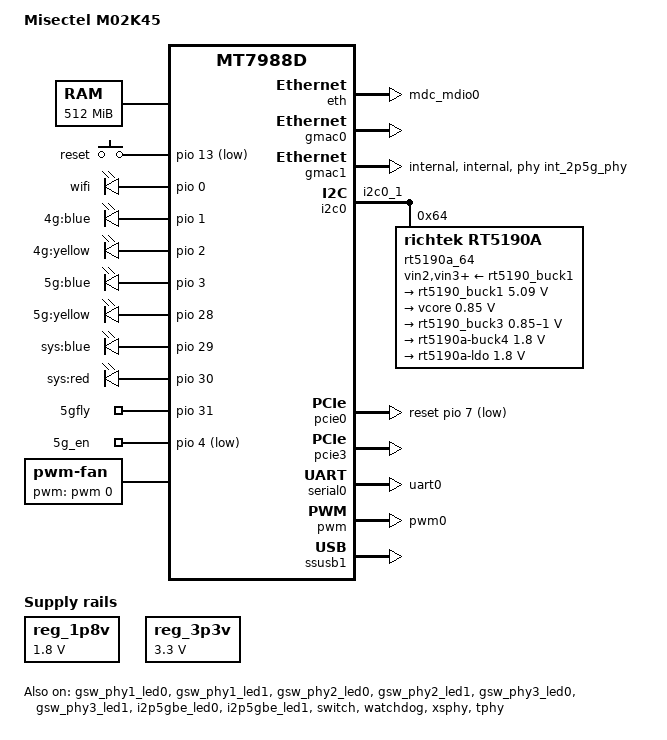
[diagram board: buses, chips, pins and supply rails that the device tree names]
// SPDX-License-Identifier: GPL-2.0-or-later OR MIT
/*
 * Copyright (C) 2025 Tianling Shen <cnsztl@immortalwrt.org>
 */

#include <dt-bindings/input/input.h>
#include <dt-bindings/gpio/gpio.h>
#include <dt-bindings/leds/common.h>
#include <dt-bindings/pinctrl/mt65xx.h>
#include <dt-bindings/regulator/richtek,rt5190a-regulator.h>

#include "mt7988a.dtsi"

/ {

	model = "Misectel M02K45";
	compatible = "misectel,m02k45", "mediatek,mt7988d";

	aliases {
		led-boot = &led_sys_red;
		led-failsafe = &led_sys_blue;
		led-running = &led_sys_blue;
		led-upgrade = &led_sys_red;
		label-mac-device = &gmac0;
		serial0 = &serial0;
	};

	chosen {
		stdout-path = "serial0:115200n8";
	};

	cpus {
		/delete-node/ cpu@3;
	};

	memory@40000000 {
		reg = <0 0x40000000 0 0x20000000>;
		device_type = "memory";
	};

	gpio-keys {
		compatible = "gpio-keys";
		pinctrl-names = "default";
		pinctrl-0 = <&button_pins>;

		button-reset {
			label = "reset";
			linux,code = <KEY_RESTART>;
			gpios = <&pio 13 GPIO_ACTIVE_LOW>;
		};
	};

	gpio-leds {
		compatible = "gpio-leds";

		led_wifi: led-wifi {
			label = "wifi";
			gpios = <&pio 0 GPIO_ACTIVE_HIGH>;
		};

		led_4g_blue: led-4g-blue {
			label = "4g:blue";
			gpios = <&pio 1 GPIO_ACTIVE_HIGH>;
		};

		led_4g_yellow: led-4g-yellow {
			label = "4g:yellow";
			gpios = <&pio 2 GPIO_ACTIVE_HIGH>;
		};

		led_5g_blue: led-5g-blue {
			label = "5g:blue";
			gpios = <&pio 3 GPIO_ACTIVE_HIGH>;
		};

		led_5g_yellow: led-5g-yellow {
			label = "5g:yellow";
			gpios = <&pio 28 GPIO_ACTIVE_HIGH>;
		};

		led_sys_blue: led-sys-blue {
			label = "sys:blue";
			gpios = <&pio 29 GPIO_ACTIVE_HIGH>;
		};

		led_sys_red: led-sys-red {
			label = "sys:red";
			gpios = <&pio 30 GPIO_ACTIVE_HIGH>;
		};
	};

	gpio-export {
		compatible = "gpio-export";

		gpio_5gfly {
			gpio-export,name = "5gfly";
			gpios = <&pio 31 GPIO_ACTIVE_HIGH>;
			gpio-export,output = <0>;
		};

		gpio_5g_en {
			gpio-export,name = "5g_en";
			gpio-export,direction_may_change;
			gpios = <&pio 4 GPIO_ACTIVE_LOW>;
			gpio-export,output = <0>;
		};
	};

	fan: pwm-fan {
		compatible = "pwm-fan";
		#cooling-cells = <2>;
		cooling-levels = <0 96 160 255>;
		pwms = <&pwm 0 40000 0>;
	};

	reg_1p8v: regulator-1p8v {
		compatible = "regulator-fixed";
		regulator-name = "fixed-1.8V";
		regulator-min-microvolt = <1800000>;
		regulator-max-microvolt = <1800000>;
		regulator-boot-on;
		regulator-always-on;
	};

	reg_3p3v: regulator-3p3v {
		compatible = "regulator-fixed";
		regulator-name = "fixed-3.3V";
		regulator-min-microvolt = <3300000>;
		regulator-max-microvolt = <3300000>;
		regulator-boot-on;
		regulator-always-on;
	};
};

&cpu0 {
	proc-supply = <&rt5190_buck3>;
};

&cpu1 {
	proc-supply = <&rt5190_buck3>;
};

&cpu2 {
	proc-supply = <&rt5190_buck3>;
};

&cci {
	proc-supply = <&rt5190_buck3>;
};

&cpu_thermal {
	/delete-node/cooling-maps;
	/delete-node/trips;

	trips {
		cpu_trip_crit: crit {
			temperature = <125000>;
			hysteresis = <2000>;
			type = "critical";
		};

		cpu_trip_hot: hot {
			temperature = <120000>;
			hysteresis = <2000>;
			type = "hot";
		};

		cpu_trip_active_high: active-high {
			temperature = <100000>;
			hysteresis = <2000>;
			type = "active";
		};

		cpu_trip_active_med: active-med {
			temperature = <85000>;
			hysteresis = <2000>;
			type = "active";
		};

		cpu_trip_active_low: active-low {
			temperature = <70000>;
			hysteresis = <2000>;
			type = "active";
		};

		cpu_trip_active_silent: active-silent {
			temperature = <50000>;
			hysteresis = <2000>;
			type = "active";
		};
	};

	cooling-maps {
		cpu-active-high {
			cooling-device = <&fan 3 3>;
			trip = <&cpu_trip_active_high>;
		};

		cpu-active-med {
			cooling-device = <&fan 2 2>;
			trip = <&cpu_trip_active_med>;
		};

		cpu-active-low {
			cooling-device = <&fan 1 1>;
			trip = <&cpu_trip_active_low>;
		};

		cpu-active-silent {
			cooling-device = <&fan 0 0>;
			trip = <&cpu_trip_active_silent>;
		};
	};
};

&eth {
	pinctrl-names = "default";
	pinctrl-0 = <&mdio0_pins>;
	status = "okay";
};

&gmac0 {
	nvmem-cells = <&macaddr_factory_1e001c 0>;
	nvmem-cell-names = "mac-address";
	status = "okay";
};

&gmac1 {
	phy-mode = "internal";
	phy-connection-type = "internal";
	phy = <&int_2p5g_phy>;
	status = "okay";
};

&gsw_phy1 {
	pinctrl-names = "gbe-led";
	pinctrl-0 = <&gbe1_led0_pins>, <&gbe1_led1_pins>;
};

&gsw_phy1_led0 {
	status = "okay";
	function = LED_FUNCTION_LAN;
	color = <LED_COLOR_ID_GREEN>;
};

&gsw_phy1_led1 {
	status = "okay";
	function = LED_FUNCTION_LAN;
	color = <LED_COLOR_ID_AMBER>;
};

&gsw_phy2 {
	pinctrl-names = "gbe-led";
	pinctrl-0 = <&gbe2_led0_pins>, <&gbe2_led1_pins>;
};

&gsw_phy2_led0 {
	status = "okay";
	function = LED_FUNCTION_LAN;
	color = <LED_COLOR_ID_GREEN>;
};

&gsw_phy2_led1 {
	status = "okay";
	function = LED_FUNCTION_LAN;
	color = <LED_COLOR_ID_AMBER>;
};

&gsw_phy3 {
	pinctrl-names = "gbe-led";
	pinctrl-0 = <&gbe3_led0_pins>, <&gbe3_led1_pins>;
};

&gsw_phy3_led0 {
	status = "okay";
	function = LED_FUNCTION_LAN;
	color = <LED_COLOR_ID_GREEN>;
};

&gsw_phy3_led1 {
	status = "okay";
	function = LED_FUNCTION_LAN;
	color = <LED_COLOR_ID_AMBER>;
};


&i2c0 {
	pinctrl-names = "default";
	pinctrl-0 = <&i2c0_pins>;
	status = "okay";

	rt5190a_64: rt5190a@64 {
		compatible = "richtek,rt5190a";
		reg = <0x64>;
		/*interrupts-extended = <&gpio26 0 IRQ_TYPE_LEVEL_LOW>;*/
		vin2-supply = <&rt5190_buck1>;
		vin3-supply = <&rt5190_buck1>;
		vin4-supply = <&rt5190_buck1>;

		regulators {
			rt5190_buck1: buck1 {
				regulator-name = "rt5190a-buck1";
				regulator-min-microvolt = <5090000>;
				regulator-max-microvolt = <5090000>;
				regulator-allowed-modes = <RT5190A_OPMODE_AUTO RT5190A_OPMODE_FPWM>;
				regulator-boot-on;
				regulator-always-on;
			};

			buck2 {
				regulator-name = "vcore";
				regulator-min-microvolt = <850000>;
				regulator-max-microvolt = <850000>;
				regulator-boot-on;
				regulator-always-on;
			};

			rt5190_buck3: buck3 {
				regulator-name = "vproc";
				regulator-min-microvolt = <850000>;
				regulator-max-microvolt = <1000000>;
				regulator-boot-on;
			};

			buck4 {
				regulator-name = "rt5190a-buck4";
				regulator-min-microvolt = <1800000>;
				regulator-max-microvolt = <1800000>;
				regulator-allowed-modes = <RT5190A_OPMODE_AUTO RT5190A_OPMODE_FPWM>;
				regulator-boot-on;
				regulator-always-on;
			};

			ldo {
				regulator-name = "rt5190a-ldo";
				regulator-min-microvolt = <1800000>;
				regulator-max-microvolt = <1800000>;
				regulator-boot-on;
				regulator-always-on;
			};
		};
	};
};

&i2p5gbe_led0 {
	color = <LED_COLOR_ID_AMBER>;
	status = "okay";
};

&i2p5gbe_led1 {
	color = <LED_COLOR_ID_GREEN>;
	status = "okay";
};

&int_2p5g_phy {
	pinctrl-names = "i2p5gbe-led";
	pinctrl-0 = <&i2p5gbe_led0_pins>, <&i2p5gbe_led1_pins>;
};

&pcie0 {
	pinctrl-names = "default";
	pinctrl-0 = <&pcie0_pins>;
	reset-gpios = <&pio 7 GPIO_ACTIVE_LOW>;
	status = "okay";

	pcie@0,0 {
		reg = <0x0000 0 0 0 0>;
		#address-cells = <3>;
		#size-cells = <2>;

		mt76@0,0 {
			reg = <0x0000 0 0 0 0>;
			#address-cells = <1>;
			#size-cells = <0>;
			nvmem-cells = <&eeprom_factory_0>;
			nvmem-cell-names = "eeprom";

			band@0 {
				reg = <0>;
				nvmem-cells = <&macaddr_factory_1e001c 0>;
				nvmem-cell-names = "mac-address";
			};

			/* FIXME: this does not work */
			band@1 {
				reg = <1>;
				nvmem-cells = <&macaddr_factory_1e001c 2>;
				nvmem-cell-names = "mac-address";
			};
		};
	};
};

&pcie3 {
	pinctrl-names = "default";
	pinctrl-0 = <&pcie3_pins>;
	probe-delay-ms = <8000>;
	status = "okay";
};

&serial0 {
	pinctrl-names = "default";
	pinctrl-0 = <&uart0_pins>;
	status = "okay";
};

&pwm {
	pinctrl-names = "default";
	pinctrl-0 = <&pwm_pins>;
	status = "okay";
};

&switch {
	status = "okay";
};

&watchdog {
	status = "okay";
};

&gmac1 {
	nvmem-cells = <&macaddr_factory_1e001c 1>;
	nvmem-cell-names = "mac-address";
	openwrt,netdev-name = "wan";
};

&gsw_phy2 {
	pinctrl-names = "gbe-led";
	pinctrl-0 = <&gbe2_led0_pins>, <&gbe2_led1_pins>;
};

&gsw_phy2_led0 {
	function = LED_FUNCTION_LAN;
	color = <LED_COLOR_ID_GREEN>;
	active-low;
	status = "okay";
};

&gsw_phy2_led1 {
	function = LED_FUNCTION_ACTIVITY;
	color = <LED_COLOR_ID_AMBER>;
	active-low;
	status = "okay";
};

&gsw_port0 {
	label = "lan3";
};

&gsw_port1 {
	label = "lan2";
};

&gsw_port2 {
	label = "lan1";
};

&gsw_port3 {
	status = "disabled";
};

&i2p5gbe_led0 {
	function = LED_FUNCTION_SPEED_WAN;
};

&i2p5gbe_led1 {
	function = LED_FUNCTION_WAN;
};

&pio {

	button_pins: button-pins {
		pins = "GPIO_RESET";
		mediatek,pull-down-adv = <0>;
	};

	gbe0_led0_pins: gbe0-led0-pins {
		mux {
			function = "led";
			groups = "gbe0_led0";
		};

	};

	gbe0_led1_pins: gbe0-led1-pins {
		mux {
			function = "led";
			groups = "gbe0_led1";
		};

	};

	gbe1_led0_pins: gbe1-led0-pins {
		mux {
			function = "led";
			groups = "gbe1_led0";
		};
	};

	gbe1_led1_pins: gbe1-led1-pins {
		mux {
			function = "led";
			groups = "gbe1_led1";
		};

	};

	i2c0_pins: i2c0-g0-pins {
		mux {
			function = "i2c";
			groups = "i2c0_1";
		};
	};

	i2p5gbe_led0_pins: i2p5gbe-led0-pins {
		mux {
			function = "led";
			groups = "2p5gbe_led0";
		};
	};

	i2p5gbe_led1_pins: i2p5gbe-led1-pins {
		mux {
			function = "led";
			groups = "2p5gbe_led1";
		};
	};

	mdio0_pins: mdio0-pins {
		mux {
			function = "eth";
			groups = "mdc_mdio0";
		};

		conf {
			groups = "mdc_mdio0";
			drive-strength = <MTK_DRIVE_8mA>;
		};
	};

	pwm_pins: pwm-pins {
		mux {
			function = "pwm";
			groups = "pwm0";
		};
	};

	spi0_flash_pins: spi0-flash-pins {
		mux {
			function = "spi";
			groups = "spi0", "spi0_wp_hold";
		};
	};

	uart0_pins: uart0-pins {
		mux {
			function = "uart";
			groups =  "uart0";
		};
	};

	gbe1_led0_pins: gbe1-led0-pins {
		mux {
			function = "led";
			groups = "gbe1_led0";
		};
	};

	gbe2_led0_pins: gbe2-led0-pins {
		mux {
			function = "led";
			groups = "gbe2_led0";
		};
	};

	gbe3_led0_pins: gbe3-led0-pins {
		mux {
			function = "led";
			groups = "gbe3_led0";
		};
	};

	gbe1_led1_pins: gbe1-led1-pins {
		mux {
			function = "led";
			groups = "gbe1_led1";
		};
	};

	gbe2_led1_pins: gbe2-led1-pins {
		mux {
			function = "led";
			groups = "gbe2_led1";
		};
	};

	gbe3_led1_pins: gbe3-led1-pins {
		mux {
			function = "led";
			groups = "gbe3_led1";
		};
	};

};

&ssusb0 {
	status = "disabled";
};

&ssusb1 {
	status = "okay";
};

&xsphy {
	status = "okay";
};

&tphy {
	status = "okay";
};
